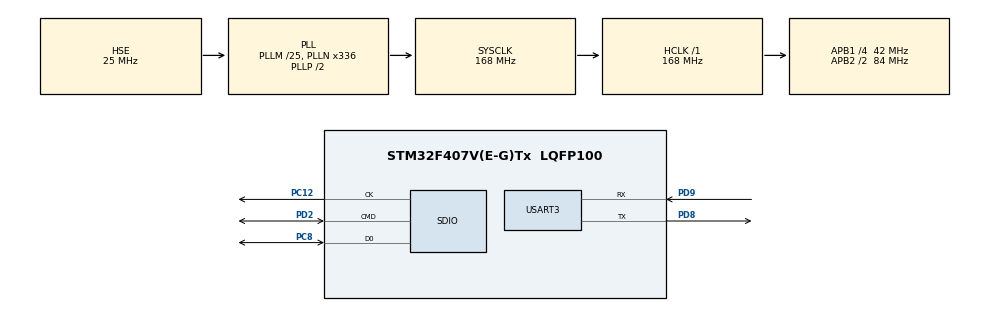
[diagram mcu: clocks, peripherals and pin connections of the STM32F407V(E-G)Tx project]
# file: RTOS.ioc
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Dma.Request0=SDIO_RX
Dma.Request1=SDIO_TX
Dma.SDIO_RX.0.Direction=DMA_PERIPH_TO_MEMORY
Dma.SDIO_RX.0.FIFOMode=DMA_FIFOMODE_ENABLE
Dma.SDIO_RX.0.FIFOThreshold=DMA_FIFO_THRESHOLD_FULL
Dma.SDIO_RX.0.Instance=DMA2_Stream3
Dma.SDIO_RX.0.MemBurst=DMA_MBURST_INC4
Dma.SDIO_RX.0.MemDataAlignment=DMA_MDATAALIGN_WORD
Dma.SDIO_RX.0.MemInc=DMA_MINC_ENABLE
Dma.SDIO_RX.0.Mode=DMA_PFCTRL
Dma.SDIO_RX.0.PeriphBurst=DMA_PBURST_INC4
Dma.SDIO_RX.0.PeriphDataAlignment=DMA_PDATAALIGN_WORD
Dma.SDIO_RX.0.PeriphInc=DMA_PINC_DISABLE
Dma.SDIO_RX.0.Priority=DMA_PRIORITY_LOW
Dma.SDIO_TX.1.Direction=DMA_MEMORY_TO_PERIPH
Dma.SDIO_TX.1.FIFOMode=DMA_FIFOMODE_ENABLE
Dma.SDIO_TX.1.FIFOThreshold=DMA_FIFO_THRESHOLD_FULL
Dma.SDIO_TX.1.Instance=DMA2_Stream6
Dma.SDIO_TX.1.MemBurst=DMA_MBURST_INC4
Dma.SDIO_TX.1.MemDataAlignment=DMA_MDATAALIGN_WORD
Dma.SDIO_TX.1.MemInc=DMA_MINC_ENABLE
Dma.SDIO_TX.1.Mode=DMA_PFCTRL
Dma.SDIO_TX.1.PeriphBurst=DMA_PBURST_INC4
Dma.SDIO_TX.1.PeriphDataAlignment=DMA_PDATAALIGN_WORD
Dma.SDIO_TX.1.PeriphInc=DMA_PINC_DISABLE
Dma.SDIO_TX.1.Priority=DMA_PRIORITY_LOW
FREERTOS.BinarySemaphores01=uartRXSem,Dynamic,NULL,Depleted;cmdRXSem,Dynamic,NULL,Depleted;bufMsgSem,Dynamic,NULL,Depleted
FREERTOS.Queues01=bufMsgQueue,20,uint8_t,0,Static,bufMsgQueueBuffer,bufMsgQueueControlBlock
FREERTOS.Tasks01=userTask1,40,128,StartTask1,Default,NULL,Dynamic,NULL,NULL;mgmtTaskFATFS,24,1024,StartMgmtTaskFATFS,Default,NULL,Dynamic,NULL,NULL;inputTaskMgmt,32,1024,StartInputTaskMgmt,Default,NULL,Dynamic,NULL,NULL
FREERTOS.configGENERATE_RUN_TIME_STATS=1
FREERTOS.configUSE_IDLE_HOOK=1
FREERTOS.configUSE_NEWLIB_REENTRANT=1
FREERTOS.configUSE_STATS_FORMATTING_FUNCTIONS=1
FREERTOS.configUSE_TICK_HOOK=1
FREERTOS.copyHeapFile=1
Mcu.Family=STM32F4
Mcu.Name=STM32F407V(E-G)Tx
Mcu.Package=LQFP100
NVIC.DMA2_Stream3_IRQn=true\:5\:0\:false\:false\:true\:true\:false\:true\:true
NVIC.DMA2_Stream6_IRQn=true\:5\:0\:false\:false\:true\:true\:false\:true\:true
NVIC.PriorityGroup=NVIC_PRIORITYGROUP_4
NVIC.RCC_IRQn=true\:5\:0\:false\:false\:true\:true\:true\:false\:true
NVIC.SDIO_IRQn=true\:5\:0\:false\:false\:true\:true\:true\:true\:true
NVIC.TIM1_UP_TIM10_IRQn=true\:15\:0\:false\:false\:true\:false\:false\:true\:true
NVIC.TIM5_IRQn=true\:5\:0\:false\:false\:true\:true\:true\:true\:true
NVIC.TimeBase=TIM1_UP_TIM10_IRQn
NVIC.TimeBaseIP=TIM1
NVIC.USART3_IRQn=true\:5\:0\:false\:false\:true\:true\:true\:true\:true
PA13.Mode=Serial_Wire
PA13.Signal=SYS_JTMS-SWDIO
PA14.Mode=Serial_Wire
PA14.Signal=SYS_JTCK-SWCLK
PC12.Mode=SD_1_bit
PC12.Signal=SDIO_CK
PC8.Mode=SD_1_bit
PC8.Signal=SDIO_D0
PD2.Mode=SD_1_bit
PD2.Signal=SDIO_CMD
PD8.Mode=Asynchronous
PD8.Signal=USART3_TX
PD9.Mode=Asynchronous
PD9.Signal=USART3_RX
PH0-OSC_IN.Mode=HSE-External-Oscillator
PH0-OSC_IN.Signal=RCC_OSC_IN
PH1-OSC_OUT.Mode=HSE-External-Oscillator
PH1-OSC_OUT.Signal=RCC_OSC_OUT
ProjectManager.HeapSize=0x800
ProjectManager.StackSize=0x1000
ProjectManager.TargetToolchain=STM32CubeIDE
RCC.48MHZClocksFreq_Value=48000000
RCC.AHBFreq_Value=168000000
RCC.APB1CLKDivider=RCC_HCLK_DIV4
RCC.APB1Freq_Value=42000000
RCC.APB1TimFreq_Value=84000000
RCC.APB2CLKDivider=RCC_HCLK_DIV2
RCC.APB2Freq_Value=84000000
RCC.APB2TimFreq_Value=168000000
RCC.CortexFreq_Value=168000000
RCC.EnbaleCSS=true
RCC.HCLKFreq_Value=168000000
RCC.HSE_VALUE=25000000
RCC.HSI_VALUE=16000000
RCC.LSE_VALUE=32768
RCC.PLLM=25
RCC.PLLN=336
RCC.PLLQ=7
RCC.PLLSourceVirtual=RCC_PLLSOURCE_HSE
RCC.SYSCLKFreq_VALUE=168000000
RCC.SYSCLKSource=RCC_SYSCLKSOURCE_PLLCLK
RCC.VCOOutputFreq_Value=336000000
TIM5.Period=10
TIM5.Prescaler=1679
USART3.VirtualMode=VM_ASYNC
VP_FATFS_VS_SDIO.Mode=SDIO
VP_FREERTOS_VS_CMSIS_V2.Mode=CMSIS_V2
VP_SYS_VS_tim1.Mode=TIM1
VP_TIM5_VS_ClockSourceINT.Mode=Internal
board=custom

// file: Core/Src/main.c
/* USER CODE BEGIN Header */
/**
  ******************************************************************************
  * @file           : main.c
  * @brief          : Main program body
  ******************************************************************************
  * @attention
  *
  * Copyright (c) 2024 STMicroelectronics.
  * All rights reserved.
  *
  * This software is licensed under terms that can be found in the LICENSE file
  * in the root directory of this software component.
  * If no LICENSE file comes with this software, it is provided AS-IS.
  *
  ******************************************************************************
  */
/* USER CODE END Header */
#include "main.h"
#include "cmsis_os.h"
#include "fatfs.h"

/* USER CODE BEGIN Includes */
#include "string.h"
#include "stdlib.h"
#include "semphr.h"
#include "printf_uart.h"
#include "sys_clk_cnfg.h"
/* USER CODE END Includes */

typedef StaticQueue_t osStaticMessageQDef_t;
/* USER CODE BEGIN PTD */
#define SIZE_OF_BUF 20
#define NUM_OF_BUF 4
/* USER CODE END PTD */

SD_HandleTypeDef hsd;
DMA_HandleTypeDef hdma_sdio_rx;
DMA_HandleTypeDef hdma_sdio_tx;

TIM_HandleTypeDef htim5;

UART_HandleTypeDef huart3;

/* Definitions for userTask1 */
osThreadId_t userTask1Handle;
const osThreadAttr_t userTask1_attributes = {
  .name = "userTask1",
  .stack_size = 128 * 4,
  .priority = (osPriority_t) osPriorityHigh,
};
/* Definitions for mgmtTaskFATFS */
osThreadId_t mgmtTaskFATFSHandle;
const osThreadAttr_t mgmtTaskFATFS_attributes = {
  .name = "mgmtTaskFATFS",
  .stack_size = 1024 * 4,
  .priority = (osPriority_t) osPriorityNormal,
};
/* Definitions for inputTaskMgmt */
osThreadId_t inputTaskMgmtHandle;
const osThreadAttr_t inputTaskMgmt_attributes = {
  .name = "inputTaskMgmt",
  .stack_size = 1024 * 4,
  .priority = (osPriority_t) osPriorityAboveNormal,
};
/* Definitions for bufMsgQueue */
osMessageQueueId_t bufMsgQueueHandle;
uint8_t bufMsgQueueBuffer[ 20 * sizeof( uint8_t ) ];
osStaticMessageQDef_t bufMsgQueueControlBlock;
const osMessageQueueAttr_t bufMsgQueue_attributes = {
  .name = "bufMsgQueue",
  .cb_mem = &bufMsgQueueControlBlock,
  .cb_size = sizeof(bufMsgQueueControlBlock),
  .mq_mem = &bufMsgQueueBuffer,
  .mq_size = sizeof(bufMsgQueueBuffer)
};
/* Definitions for uartRXSem */
osSemaphoreId_t uartRXSemHandle;
const osSemaphoreAttr_t uartRXSem_attributes = {
  .name = "uartRXSem"
};
/* Definitions for cmdRXSem */
osSemaphoreId_t cmdRXSemHandle;
const osSemaphoreAttr_t cmdRXSem_attributes = {
  .name = "cmdRXSem"
};
/* Definitions for bufMsgSem */
osSemaphoreId_t bufMsgSemHandle;
const osSemaphoreAttr_t bufMsgSem_attributes = {
  .name = "bufMsgSem"
};
/* USER CODE BEGIN PV */
extern const Diskio_drvTypeDef  SD_Driver;
extern char SDPath[4];
volatile unsigned long totalTickCnt;
extern volatile uint32_t freq;
extern ret_status statusClk;

FATFS fs;
FRESULT res_fs;
uint32_t freqRef;
uint32_t uart_irq = 0;
uint8_t bufRX[1];
uint8_t bufMsg[SIZE_OF_BUF];
uint8_t cmd_fs_ref[NUM_OF_BUF][SIZE_OF_BUF] = {
		" ",
		"mount",
		"unmount",
		"write"

};
uint32_t cmd_cod;
uint32_t cmd_fs = 0;
uint8_t text[2][20];
uint8_t printBuf[3*SIZE_OF_BUF];
uint8_t n = 0;

/* USER CODE END PV */

void SystemClock_Config(void);
static void MX_GPIO_Init(void);
static void MX_DMA_Init(void);
static void MX_TIM5_Init(void);
static void MX_USART3_UART_Init(void);
static void MX_SDIO_SD_Init(void);
void StartTask1(void *argument);
void StartMgmtTaskFATFS(void *argument);
void StartInputTaskMgmt(void *argument);

/* USER CODE BEGIN PFP */
void HAL_UART_RxCpltCallback(UART_HandleTypeDef *huart);
int extCmdMsg(uint8_t *buf, const uint32_t num);
void extKeyMsg(uint8_t *buf, const uint32_t num, const uint32_t k);
//void Mount_FATFS(void);
/* USER CODE END PFP */

int main(void)
{

  /* MCU Configuration--------------------------------------------------------*/

  /* Reset of all peripherals, Initializes the Flash interface and the Systick. */
  HAL_Init();

  /* Configure the system clock */
  SystemClock_Config();

  /* Initialize all configured peripherals */
  MX_GPIO_Init();
  MX_DMA_Init();
  MX_TIM5_Init();
  MX_USART3_UART_Init();
  MX_SDIO_SD_Init();
  MX_FATFS_Init();
  /* USER CODE BEGIN 2 */
  HAL_TIM_Base_Start_IT(&htim5);
  HAL_UART_Receive_IT(&huart3, bufRX, 1);
//  UART_Printf("%c",bufRX);
  bufMsg[0] = bufRX[0];
  freqRef = HAL_RCC_GetSysClockFreq();
  /* USER CODE END 2 */

  /* Init scheduler */
  osKernelInitialize();

  /* Create the semaphores(s) */
  /* creation of uartRXSem */
  uartRXSemHandle = osSemaphoreNew(1, 0, &uartRXSem_attributes);

  /* creation of cmdRXSem */
  cmdRXSemHandle = osSemaphoreNew(1, 0, &cmdRXSem_attributes);

  /* creation of bufMsgSem */
  bufMsgSemHandle = osSemaphoreNew(1, 0, &bufMsgSem_attributes);

  /* Create the queue(s) */
  /* creation of bufMsgQueue */
  bufMsgQueueHandle = osMessageQueueNew (20, sizeof(uint8_t), &bufMsgQueue_attributes);

  /* Create the thread(s) */
  /* creation of userTask1 */
  userTask1Handle = osThreadNew(StartTask1, NULL, &userTask1_attributes);

  /* creation of mgmtTaskFATFS */
  mgmtTaskFATFSHandle = osThreadNew(StartMgmtTaskFATFS, NULL, &mgmtTaskFATFS_attributes);

  /* creation of inputTaskMgmt */
  inputTaskMgmtHandle = osThreadNew(StartInputTaskMgmt, NULL, &inputTaskMgmt_attributes);

  /* Start scheduler */
  osKernelStart();

  /* We should never get here as control is now taken by the scheduler */

  /* Infinite loop */
  while (1)
  {

  }
}

void SystemClock_Config(void)
{
  RCC_OscInitTypeDef RCC_OscInitStruct = {0};
  RCC_ClkInitTypeDef RCC_ClkInitStruct = {0};

  /** Configure the main internal regulator output voltage
  */
  __HAL_RCC_PWR_CLK_ENABLE();
  __HAL_PWR_VOLTAGESCALING_CONFIG(PWR_REGULATOR_VOLTAGE_SCALE1);

  /** Initializes the RCC Oscillators according to the specified parameters
  * in the RCC_OscInitTypeDef structure.
  */
  RCC_OscInitStruct.OscillatorType = RCC_OSCILLATORTYPE_HSE;
  RCC_OscInitStruct.HSEState = RCC_HSE_ON;
  RCC_OscInitStruct.PLL.PLLState = RCC_PLL_ON;
  RCC_OscInitStruct.PLL.PLLSource = RCC_PLLSOURCE_HSE;
  RCC_OscInitStruct.PLL.PLLM = 25;
  RCC_OscInitStruct.PLL.PLLN = 336;
  RCC_OscInitStruct.PLL.PLLP = RCC_PLLP_DIV2;
  RCC_OscInitStruct.PLL.PLLQ = 7;
  if (HAL_RCC_OscConfig(&RCC_OscInitStruct) != HAL_OK)
  {
    Error_Handler();
  }

  /** Initializes the CPU, AHB and APB buses clocks
  */
  RCC_ClkInitStruct.ClockType = RCC_CLOCKTYPE_HCLK|RCC_CLOCKTYPE_SYSCLK
                              |RCC_CLOCKTYPE_PCLK1|RCC_CLOCKTYPE_PCLK2;
  RCC_ClkInitStruct.SYSCLKSource = RCC_SYSCLKSOURCE_PLLCLK;
  RCC_ClkInitStruct.AHBCLKDivider = RCC_SYSCLK_DIV1;
  RCC_ClkInitStruct.APB1CLKDivider = RCC_HCLK_DIV4;
  RCC_ClkInitStruct.APB2CLKDivider = RCC_HCLK_DIV2;

  if (HAL_RCC_ClockConfig(&RCC_ClkInitStruct, FLASH_LATENCY_5) != HAL_OK)
  {
    Error_Handler();
  }

  /** Enables the Clock Security System
  */
  HAL_RCC_EnableCSS();
}

static void MX_SDIO_SD_Init(void)
{

  hsd.Instance = SDIO;
  hsd.Init.ClockEdge = SDIO_CLOCK_EDGE_RISING;
  hsd.Init.ClockBypass = SDIO_CLOCK_BYPASS_DISABLE;
  hsd.Init.ClockPowerSave = SDIO_CLOCK_POWER_SAVE_DISABLE;
  hsd.Init.BusWide = SDIO_BUS_WIDE_1B;
  hsd.Init.HardwareFlowControl = SDIO_HARDWARE_FLOW_CONTROL_DISABLE;
  hsd.Init.ClockDiv = 0;

}

static void MX_TIM5_Init(void)
{

  TIM_ClockConfigTypeDef sClockSourceConfig = {0};
  TIM_MasterConfigTypeDef sMasterConfig = {0};

  htim5.Instance = TIM5;
  htim5.Init.Prescaler = 1679;
  htim5.Init.CounterMode = TIM_COUNTERMODE_UP;
  htim5.Init.Period = 10;
  htim5.Init.ClockDivision = TIM_CLOCKDIVISION_DIV1;
  htim5.Init.AutoReloadPreload = TIM_AUTORELOAD_PRELOAD_DISABLE;
  if (HAL_TIM_Base_Init(&htim5) != HAL_OK)
  {
    Error_Handler();
  }
  sClockSourceConfig.ClockSource = TIM_CLOCKSOURCE_INTERNAL;
  if (HAL_TIM_ConfigClockSource(&htim5, &sClockSourceConfig) != HAL_OK)
  {
    Error_Handler();
  }
  sMasterConfig.MasterOutputTrigger = TIM_TRGO_RESET;
  sMasterConfig.MasterSlaveMode = TIM_MASTERSLAVEMODE_DISABLE;
  if (HAL_TIMEx_MasterConfigSynchronization(&htim5, &sMasterConfig) != HAL_OK)
  {
    Error_Handler();
  }

}

static void MX_USART3_UART_Init(void)
{

  huart3.Instance = USART3;
  huart3.Init.BaudRate = 115200;
  huart3.Init.WordLength = UART_WORDLENGTH_8B;
  huart3.Init.StopBits = UART_STOPBITS_1;
  huart3.Init.Parity = UART_PARITY_NONE;
  huart3.Init.Mode = UART_MODE_TX_RX;
  huart3.Init.HwFlowCtl = UART_HWCONTROL_NONE;
  huart3.Init.OverSampling = UART_OVERSAMPLING_16;
  if (HAL_UART_Init(&huart3) != HAL_OK)
  {
    Error_Handler();
  }

}

static void MX_DMA_Init(void)
{

  /* DMA controller clock enable */
  __HAL_RCC_DMA2_CLK_ENABLE();

  /* DMA interrupt init */
  /* DMA2_Stream3_IRQn interrupt configuration */
  HAL_NVIC_SetPriority(DMA2_Stream3_IRQn, 5, 0);
  HAL_NVIC_EnableIRQ(DMA2_Stream3_IRQn);
  /* DMA2_Stream6_IRQn interrupt configuration */
  HAL_NVIC_SetPriority(DMA2_Stream6_IRQn, 5, 0);
  HAL_NVIC_EnableIRQ(DMA2_Stream6_IRQn);

}

static void MX_GPIO_Init(void)
{

  /* GPIO Ports Clock Enable */
  __HAL_RCC_GPIOH_CLK_ENABLE();
  __HAL_RCC_GPIOD_CLK_ENABLE();
  __HAL_RCC_GPIOC_CLK_ENABLE();
  __HAL_RCC_GPIOA_CLK_ENABLE();

}

/* USER CODE BEGIN 4 */

void HAL_UART_RxCpltCallback(UART_HandleTypeDef *huart)
{
 	HAL_UART_Receive_IT(&huart3, bufRX, 1);
 	BaseType_t xHigherPriorityTaskWokenUART = pdFALSE;
	xSemaphoreGiveFromISR(uartRXSemHandle, &xHigherPriorityTaskWokenUART);
 }

int extCmdMsg(uint8_t *buf, const uint32_t num)
{
	int i = 0;

	  while(i < NUM_OF_BUF)
	  {
		  if (strstr((char *)buf,(char *)&cmd_fs_ref[i]) && num == strlen(cmd_fs_ref[i]))
		  {
			  return i;
		  }
		  else
		  {
			  i++;
		  }
	  }

	  return 0xffff;
}

void extKeyMsg(uint8_t *buf, const uint32_t num, const uint32_t k)
{
int n = sizeof(text[0]);
	  strncpy((char *)text+k*(sizeof(text[0])), (char *)buf, num);

}
/* USER CODE END 4 */

void StartTask1(void *argument)
{
  for(;;)
  {
    osDelay(1);
  }
}

void StartMgmtTaskFATFS(void *argument)
{
  /* USER CODE BEGIN StartMgmtTaskFATFS */
//	int i = 0;
  /* Infinite loop */
  for(;;){

	  if (xSemaphoreTake(cmdRXSemHandle, portMAX_DELAY))
	  {

		  switch (cmd_fs) {
			case 1 ... 2:
				res_fs = mount_fs(&fs, cmd_fs);
				break;
			case 3:
				if (freq != freqRef)
				{
					statusClk = SysClockPLLConfig();
				}
				res_fs = write_fs(&text[0], &text[1]);
				break;
			default:
				break;
		}

		  cmd_fs = 0;

	  }

    osDelay(1);
  }
  /* USER CODE END StartMgmtTaskFATFS */
}

void StartInputTaskMgmt(void *argument)
{
  /* USER CODE BEGIN StartInputTaskMgmt */
	uint8_t k = 0;
	uint8_t n = 0;
//	if (strstr((char *)bufRX,"\n"))
//	{
//		xSemaphoreGive(cmdRXSemHandle);
//		memset((char *)bufRX, (int)'0',SIZE_OF_BUF);
//	}
  /* Infinite loop */
  for(;;)
  {

	  if (xSemaphoreTake(uartRXSemHandle, portMAX_DELAY))
	  {
		HAL_UART_Transmit(&huart3, (uint8_t *)"\r", 1, HAL_MAX_DELAY);

		if (bufRX[0] == '-')
		{
			printBuf[n] = bufRX[0];
			HAL_UART_Transmit(&huart3, (uint8_t *)printBuf, n+1, HAL_MAX_DELAY);
			if (cmd_fs != 0)
			{
				extKeyMsg(bufMsg, uart_irq, k);
				k++;
			}
			else
			{
				cmd_fs = extCmdMsg(bufMsg, uart_irq);
				k = 0;
			}
			memset((char *)bufMsg, (int)'0',SIZE_OF_BUF);
			uart_irq = 0;
			n++;

		}
		else if (bufRX[0] == '\177')
		{
			uart_irq--;
			n--;
			bufMsg[uart_irq] = '\177';
			printBuf[n] = '\177';
			HAL_UART_Transmit(&huart3, (uint8_t *)printBuf, n+1, HAL_MAX_DELAY);
			//uart_irq++;
			//n++;
		}
		else if (!(bufRX[0] == '\n' || bufRX[0] == '\r' || bufRX[0] == '\0' || uart_irq == SIZE_OF_BUF-1))
		{
			printBuf[n] = bufRX[0];
			bufMsg[uart_irq] = bufRX[0];
			HAL_UART_Transmit(&huart3, (uint8_t *)printBuf, n+1, HAL_MAX_DELAY);
 			uart_irq++;
 			n++;
		}
		else
		{
			if (cmd_fs != 0)
			{
				extKeyMsg(bufMsg, uart_irq, k);
			}
			else
			{
				cmd_fs = extCmdMsg(bufMsg, uart_irq);
			}
			memset((char *)bufMsg, (int)'0',SIZE_OF_BUF);
			memset((char *)printBuf, (int)'0',SIZE_OF_BUF);
			uart_irq = 0;
			k = 0;
			n = 0;
			xSemaphoreGive(cmdRXSemHandle);

		}

	  }

    osDelay(1);
  }
  /* USER CODE END StartInputTaskMgmt */
}

void HAL_TIM_PeriodElapsedCallback(TIM_HandleTypeDef *htim)
{
  /* USER CODE BEGIN Callback 0 */
  if (htim->Instance == TIM5) {
	totalTickCnt++;
  }
  /* USER CODE END Callback 0 */
  if (htim->Instance == TIM1) {
    HAL_IncTick();
  }
}

void Error_Handler(void)
{
  __disable_irq();
  while (1)
  {
  }
}

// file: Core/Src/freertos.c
/* USER CODE BEGIN Header */
/**
  ******************************************************************************
  * File Name          : freertos.c
  * Description        : Code for freertos applications
  ******************************************************************************
  * @attention
  *
  * Copyright (c) 2024 STMicroelectronics.
  * All rights reserved.
  *
  * This software is licensed under terms that can be found in the LICENSE file
  * in the root directory of this software component.
  * If no LICENSE file comes with this software, it is provided AS-IS.
  *
  ******************************************************************************
  */
/* USER CODE END Header */

#include "FreeRTOS.h"
#include "task.h"
#include "main.h"

/* USER CODE BEGIN Includes */
#include "string.h"
#include "stdlib.h"
#include "printf_uart.h"
#include "sys_clk_cnfg.h"
/* USER CODE END Includes */

/* USER CODE BEGIN Variables */
extern volatile unsigned long totalTickCnt;
extern volatile uint32_t freq;
extern UART_HandleTypeDef huart3;
extern SD_HandleTypeDef hsd;
extern uint32_t freqRef;
extern uint8_t bufRX[1];
char bfrInfo[1024];
uint32_t precIdelInt;
uint16_t precIdelChar;
ret_status statusClk;
/* USER CODE END Variables */

/* USER CODE BEGIN FunctionPrototypes */
//extern void SysClockPLLConfig(void);
//extern void SysClockHSEConfig(void);
/* USER CODE END FunctionPrototypes */

/* Hook prototypes */
void configureTimerForRunTimeStats(void);
unsigned long getRunTimeCounterValue(void);
void vApplicationIdleHook(void);
void vApplicationTickHook(void);

/* USER CODE BEGIN 1 */
/* Functions needed when configGENERATE_RUN_TIME_STATS is on */
__weak void configureTimerForRunTimeStats(void)
{
	totalTickCnt = 0;

}

__weak unsigned long getRunTimeCounterValue(void)
{
return totalTickCnt;
}
/* USER CODE END 1 */

/* USER CODE BEGIN 2 */
void vApplicationIdleHook( void )
{
	  char *pStrIdle = NULL;

	vTaskGetRunTimeStats(bfrInfo);
	pStrIdle = strstr(bfrInfo,"IDLE");
	if (pStrIdle)
	{
		freq = HAL_RCC_GetSysClockFreq();
		pStrIdle = strstr(pStrIdle,"%");
		const char *pStrIdelStart = pStrIdle;
		while (*(pStrIdle) != '\t')
		{
			pStrIdle--;
		}

		if ((pStrIdelStart-(pStrIdle+1)) == 1)
		{
			precIdelChar = *(pStrIdle+1);
		}
		else if ((pStrIdelStart-(pStrIdle+1)) == 2)
		{
			precIdelChar = (*(pStrIdle+2) << 8) | (*(pStrIdle+1) << 0);
		}
		else if ((pStrIdelStart-(pStrIdle+1)) > 3)
		{
			precIdelChar = (*(pStrIdle+2) << 8) | (*(pStrIdle+1) << 0);
		}
		precIdelInt = atoi((char *)&precIdelChar);

		if (precIdelInt > 50)
		{
			if (freq == freqRef)
			{
//				statusClk = SysClockPLLConfig();
				statusClk = SysClockHSEConfig();
				HAL_UART_DeInit(&huart3);
				HAL_UART_Init(&huart3);
				HAL_UART_Receive_IT(&huart3, bufRX, sizeof(bufRX));
			}
		}
		else
		{
			statusClk = SysClockPLLConfig();
//			HAL_SD_DeInit(&hsd);
//			HAL_SD_Init(&hsd);
			HAL_UART_DeInit(&huart3);
			HAL_UART_Init(&huart3);
			HAL_UART_Receive_IT(&huart3, bufRX, sizeof(bufRX));
		}
		freq = HAL_RCC_GetSysClockFreq();
	}
}
/* USER CODE END 2 */

/* USER CODE BEGIN 3 */
void vApplicationTickHook( void )
{
   /* This function will be called by each tick interrupt if
   configUSE_TICK_HOOK is set to 1 in FreeRTOSConfig.h. User code can be
   added here, but the tick hook is called from an interrupt context, so
   code must not attempt to block, and only the interrupt safe FreeRTOS API
   functions can be used (those that end in FromISR()). */
}
/* USER CODE END 3 */
